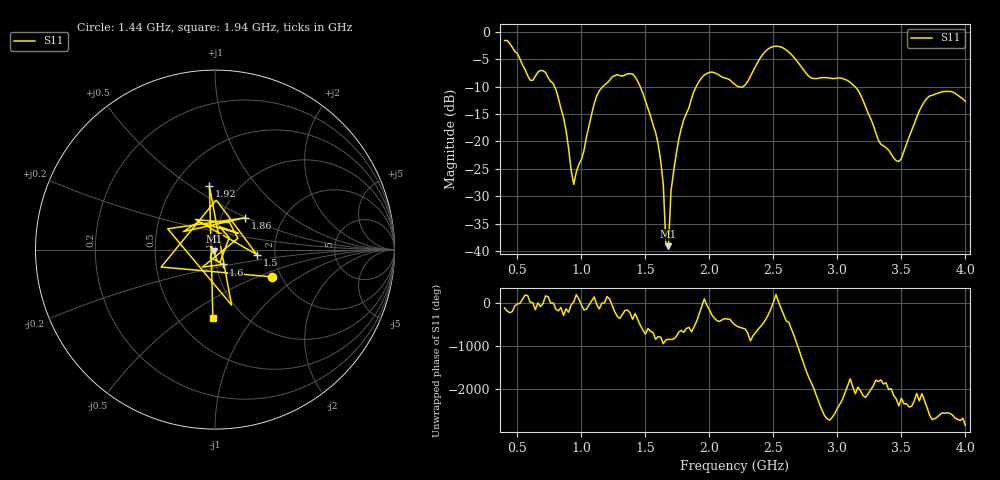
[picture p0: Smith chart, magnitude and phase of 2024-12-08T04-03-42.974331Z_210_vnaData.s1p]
!Created with skrf (http://scikit-rf.org).
# Hz S RI R 50.0
!freq ReS11 ImS11
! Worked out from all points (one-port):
!   181 points, 400 MHz to 4 GHz, reference 50 ohm
!   lowest |S11| = -39.1 dB at 1.68 GHz (marker M1), VSWR 1.02, Z = 49.3 - j0.878 ohm
!   |S11| at or under -10 dB: 790.9 MHz to 1.167 GHz (376.1 MHz wide, 38.4 % of centre); 1.46 GHz to 1.896 GHz (436.9 MHz wide, 26 % of centre); 3.138 GHz to end of sweep (the widest 3 of 4)
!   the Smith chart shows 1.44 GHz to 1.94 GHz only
!   S11 on the Smith chart (normalised r, x): 1.44 GHz: 1.80, -0.63; 1.5 GHz: 1.60, -0.09; 1.6 GHz: 1.08, -0.18; 1.86 GHz: 1.30, +0.49; 1.92 GHz: 0.74, +0.59; 1.94 GHz: 0.73, -0.65
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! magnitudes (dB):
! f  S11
! 400 MHz  -1.6
! 600 MHz  -8.8
! 720 MHz  -7.4
! 860 MHz  -15.6
! 940 MHz  -27.8
! 1.12 GHz  -11.7
! 1.3 GHz  -8.0
! 1.44 GHz  -9.0
! 1.5 GHz  -12.6
! 1.6 GHz  -20.6
! 1.64 GHz  -27.9
! 1.66 GHz  -38.7
! 1.68 GHz  -39.1
! 1.7 GHz  -29.1
! 1.76 GHz  -19.7
! 1.86 GHz  -12.2
! 1.92 GHz  -9.0
! 1.94 GHz  -8.3
! 2.2 GHz  -9.6
! 2.28 GHz  -9.7
! 2.48 GHz  -2.8
! 2.66 GHz  -4.6
! 2.8 GHz  -8.4
! 3.1 GHz  -9.2
! 3.46 GHz  -23.5
! 3.56 GHz  -19.2
! 3.72 GHz  -11.7
! 4 GHz  -12.7
